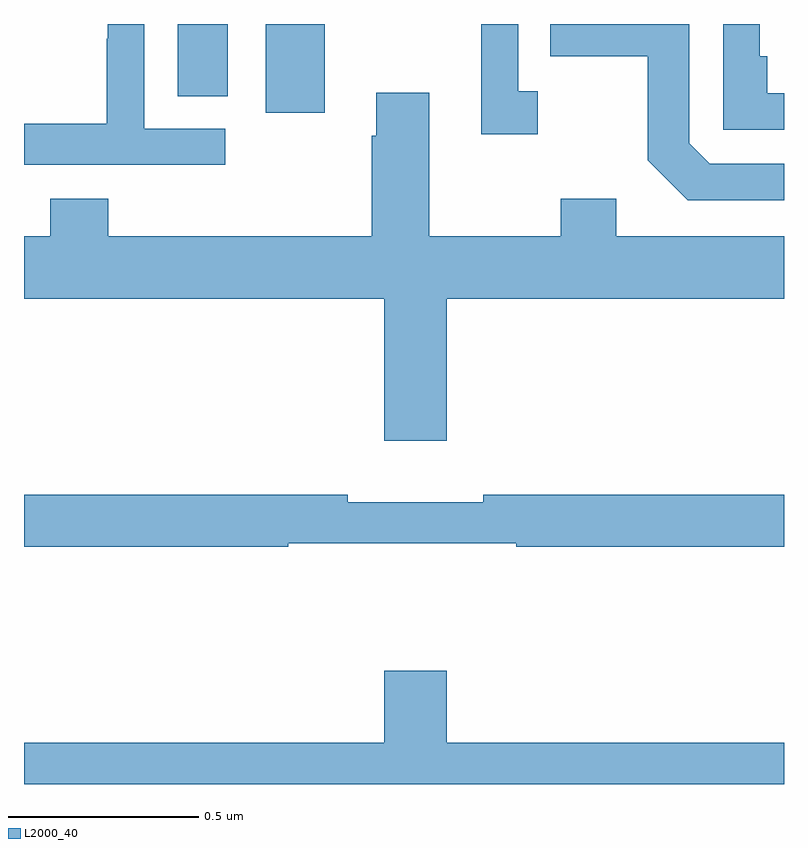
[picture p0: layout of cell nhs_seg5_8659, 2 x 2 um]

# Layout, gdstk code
import gdstk
lib = gdstk.Library(unit=1e-6, precision=1e-09)
def R(c, l, rs):  # rectangles x0, y0, x1, y1
    for r in rs: c.add(gdstk.rectangle(r[:2], r[2:], *l))
def P(c, l, *ps):  # polygons
    for p in ps: c.add(gdstk.Polygon(p, *l))
L2000_40 = (2000, 40)

nhs_seg5_8659 = lib.new_cell('nhs_seg5_8659')
R(nhs_seg5_8659, L2000_40, [(224.636,874.566,224.791,874.799), (224.405,874.609,224.536,874.799)])
P(nhs_seg5_8659, L2000_40, [(224.53,874.524),(224.316,874.524),(224.316,874.799),(224.22,874.799),(224.22,874.76),(224.218,874.76),(224.218,874.537),(224,874.537),(224,874.428),(224.53,874.428)],
  [(226,874.617),(225.956,874.617),(225.956,874.714),(225.936,874.714),(225.936,874.799),(225.84,874.799),(225.84,874.521),(226,874.521)],
  [(225.352,874.622),(225.3,874.622),(225.3,874.799),(225.203,874.799),(225.203,874.509),(225.352,874.509)],
  [(226,874.431),(225.804,874.431),(225.75,874.485),(225.75,874.799),(225.385,874.799),(225.385,874.714),(225.642,874.714),(225.642,874.441),(225.747,874.335),(226,874.335)],
  [(225.112,874.076),(226,874.076),(226,874.24),(225.559,874.24),(225.559,874.339),(225.412,874.339),(225.412,874.24),(225.067,874.24),(225.067,874.618),(224.927,874.618),(224.927,874.505),(224.915,874.505),(224.915,874.24),(224.222,874.24),(224.222,874.339),(224.069,874.339),(224.069,874.24),(224,874.24),(224,874.076),(224.948,874.076),(224.948,873.702),(225.112,873.702)],
  [(224.696,873.432),(225.296,873.432),(225.296,873.424),(226,873.424),(226,873.56),(225.208,873.56),(225.208,873.541),(224.852,873.541),(224.852,873.56),(224,873.56),(224,873.424),(224.696,873.424)],
  [(226,872.908),(225.112,872.908),(225.112,873.097),(224.948,873.097),(224.948,872.908),(224,872.908),(224,872.799),(226,872.799)])

lib.write_gds('nhs_seg5_8659.gds')
